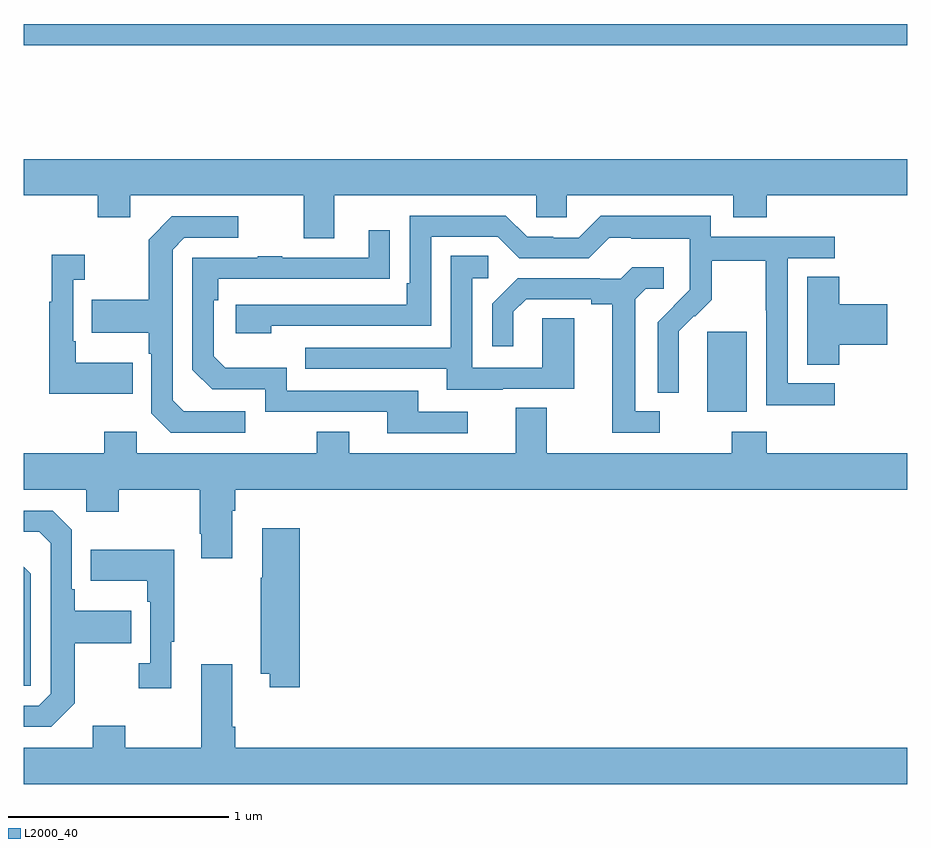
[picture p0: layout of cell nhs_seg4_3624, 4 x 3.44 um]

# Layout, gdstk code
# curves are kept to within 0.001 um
import gdstk
lib = gdstk.Library(unit=1e-6, precision=1e-09)
def R(c, l, rs):  # rectangles x0, y0, x1, y1
    for r in rs: c.add(gdstk.rectangle(r[:2], r[2:], *l))
def P(c, l, *ps):  # polygons
    for p in ps: c.add(gdstk.Polygon(p, *l))
L2000_40 = (2000, 40)

nhs_seg4_3624 = lib.new_cell('nhs_seg4_3624')
R(nhs_seg4_3624, L2000_40, [(304.094,825.146,304.273,825.507), (301,826.804,305,826.9)])
P(nhs_seg4_3624, L2000_40, [(302.407,826.124),(303.321,826.124),(303.321,826.026),(303.459,826.026),(303.459,826.124),(304.211,826.124),(304.211,826.025),(304.364,826.025),(304.364,826.124),(305,826.124),(305,826.288),(301,826.288),(301,826.124),(301.336,826.124),(301.336,826.025),(301.483,826.025),(301.483,826.124),(302.267,826.124),(302.267,825.93),(302.407,825.93)],
  [(304.672,825.273),(304.458,825.273),(304.458,825.84),(304.672,825.84),(304.672,825.936),(304.11,825.936),(304.11,826.033),(303.613,826.033),(303.513,825.933),(303.398,825.933),(303.398,825.936),(303.279,825.936),(303.183,826.032),(302.748,826.032),(302.748,825.727),(302.735,825.727),(302.735,825.63),(301.959,825.63),(301.959,825.5),(302.12,825.5),(302.12,825.534),(302.844,825.534),(302.844,825.936),(303.147,825.936),(303.243,825.84),(303.558,825.84),(303.651,825.933),(303.751,825.933),(303.751,825.929),(304.014,825.929),(304.014,825.795),(304.016,825.795),(304.016,825.698),(303.87,825.55),(303.87,825.232),(303.966,825.232),(303.965,825.509),(304.035,825.579),(304.038,825.576),(304.115,825.653),(304.115,825.828),(304.36,825.828),(304.36,825.604),(304.362,825.604),(304.362,825.175),(304.672,825.175)],
  [(302.002,825.147),(301.725,825.147),(301.674,825.198),(301.674,825.879),(301.728,825.933),(301.972,825.933),(301.972,826.029),(301.671,826.029),(301.566,825.923),(301.566,825.651),(301.309,825.651),(301.309,825.503),(301.566,825.503),(301.566,825.407),(301.578,825.407),(301.578,825.138),(301.665,825.051),(302.002,825.051)],
  [(303.01,825.144),(302.785,825.144),(302.785,825.24),(302.19,825.24),(302.19,825.343),(301.913,825.343),(301.86,825.396),(301.86,825.65),(301.88,825.65),(301.88,825.747),(302.657,825.748),(302.657,825.967),(302.561,825.967),(302.561,825.843),(302.171,825.843),(302.171,825.848),(302.059,825.848),(302.059,825.843),(301.764,825.843),(301.764,825.336),(301.854,825.246),(302.094,825.246),(302.094,825.144),(302.645,825.144),(302.645,825.048),(303.01,825.048)],
  [(301.493,825.367),(301.237,825.367),(301.237,825.463),(301.224,825.463),(301.224,825.743),(301.276,825.743),(301.276,825.856),(301.127,825.856),(301.127,825.643),(301.116,825.643),(301.116,825.227),(301.493,825.227)],
  [(303.169,825.249),(303.493,825.249),(303.493,825.569),(303.348,825.569),(303.348,825.345),(303.03,825.345),(303.03,825.75),(303.103,825.75),(303.103,825.851),(302.934,825.851),(302.934,825.435),(302.275,825.435),(302.275,825.339),(302.915,825.339),(302.915,825.245),(303.169,825.245)],
  [(303.88,825.147),(303.769,825.147),(303.769,825.655),(303.816,825.702),(303.898,825.702),(303.898,825.799),(303.754,825.799),(303.702,825.747),(303.608,825.747),(303.608,825.75),(303.236,825.75),(303.12,825.634),(303.12,825.441),(303.217,825.441),(303.217,825.597),(303.274,825.654),(303.569,825.654),(303.569,825.632),(303.665,825.632),(303.665,825.051),(303.88,825.051)],
  [(304.691,825.449),(304.909,825.449),(304.909,825.632),(304.691,825.632),(304.691,825.755),(304.547,825.755),(304.547,825.358),(304.691,825.358)],
  [(301.945,824.696),(301.958,824.696),(301.958,824.792),(305,824.792),(305,824.956),(304.364,824.956),(304.364,825.055),(304.204,825.055),(304.204,824.956),(303.367,824.956),(303.367,825.164),(303.227,825.164),(303.227,824.956),(302.473,824.956),(302.473,825.055),(302.326,825.055),(302.326,824.956),(301.512,824.956),(301.512,825.055),(301.366,825.055),(301.366,824.956),(301,824.956),(301,824.792),(301.284,824.792),(301.284,824.693),(301.431,824.693),(301.431,824.792),(301.798,824.792),(301.798,824.593),(301.805,824.593),(301.805,824.481),(301.945,824.481)],
  [(301.231,823.825),(301.231,824.098),(301.487,824.098),(301.487,824.245),(301.231,824.245),(301.231,824.341),(301.218,824.341),(301.218,824.61),(301.131,824.697),(301,824.697),(301,824.601),(301.071,824.601),(301.122,824.55),(301.122,823.869),(301.068,823.815),(301,823.815),(301,823.719),(301.125,823.719)],
  [(302.249,824.617),(302.081,824.617),(302.081,824.393),(302.074,824.393),(302.074,823.958),(302.114,823.958),(302.114,823.899),(302.249,823.899)],
  [(301.669,824.105),(301.681,824.105),(301.681,824.521),(301.303,824.521),(301.303,824.381),(301.56,824.381),(301.56,824.285),(301.572,824.285),(301.572,824.006),(301.521,824.006),(301.521,823.893),(301.669,823.893)],
  [(301.032,824.412),(301,824.444),(301,823.905),(301.032,823.905)],
  [(305,823.624),(301.958,823.624),(301.958,823.72),(301.945,823.72),(301.945,824.002),(301.805,824.002),(301.805,823.624),(301.461,823.624),(301.461,823.723),(301.313,823.723),(301.313,823.624),(301,823.624),(301,823.46),(305,823.46)])

lib.write_gds('nhs_seg4_3624.gds')
